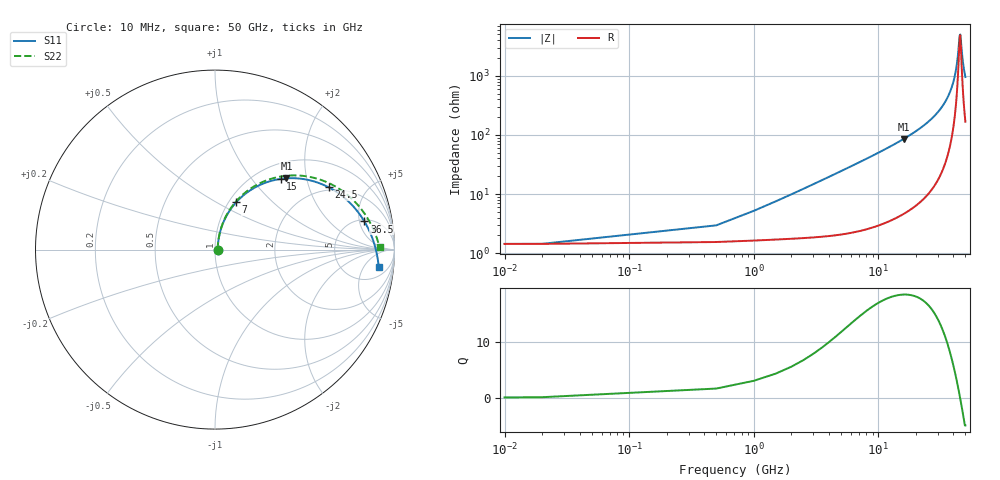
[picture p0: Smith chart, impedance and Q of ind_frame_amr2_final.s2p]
! Created with skrf 2.1.0 (http://scikit-rf.org).
# GHz S DB R 50.0
! Port[1] = P1
! Port[2] = P2
!freq dBS11 angS11 dBS21 angS21 dBS12 angS12 dBS22 angS22
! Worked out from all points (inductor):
!   102 points, 10 MHz to 50 GHz, reference 50 ohm
!   read as 1/Y11, port 2 shorted: L = 777 pH near 1 GHz
!   highest Q = 18.5 at 16 GHz (marker M1), where L = 853 pH
!   self-resonance near 45 GHz
!   S11 on the Smith chart (normalised r, x): 10 MHz: 1.03, +0.00; 7 GHz: 1.08, +0.62; 15 GHz: 1.28, +1.41; 24.5 GHz: 1.87, +2.72; 36.5 GHz: 5.35, +5.94; 50 GHz: 9, -11
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0.01  -36.98 2.0  -0.12 -0.0  -0.12 -0.0  -36.98 2.0
0.5  -31.39 54.4  -0.14 -1.6  -0.14 -1.6  -31.39 54.4
1  -26.66 67.3  -0.15 -3.1  -0.15 -3.1  -26.66 67.4
1.5  -23.50 71.7  -0.17 -4.5  -0.17 -4.5  -23.50 71.9
2  -21.15 73.5  -0.19 -6.0  -0.19 -6.0  -21.15 73.7
3  -17.77 73.8  -0.24 -8.9  -0.24 -8.9  -17.77 74.1
4  -15.36 72.5  -0.31 -11.7  -0.31 -11.7  -15.37 72.9
5.5  -12.74 69.5  -0.43 -15.9  -0.43 -15.9  -12.74 70.1
7  -10.80 65.9  -0.59 -20.0  -0.59 -20.0  -10.81 66.7
8.5  -9.31 62.3  -0.77 -24.0  -0.77 -24.0  -9.31 63.3
11.5  -7.12 55.0  -1.21 -31.4  -1.21 -31.4  -7.12 56.4
15  -5.39 47.1  -1.80 -39.4  -1.80 -39.4  -5.40 48.9
16  -5.00 44.9  -1.98 -41.6  -1.98 -41.6  -5.01 46.9
17  -4.65 42.8  -2.17 -43.6  -2.17 -43.6  -4.66 44.9
20.5  -3.66 35.9  -2.85 -50.5  -2.85 -50.5  -3.67 38.4
24.5  -2.83 28.8  -3.65 -57.5  -3.65 -57.5  -2.84 31.8
25.5  -2.67 27.1  -3.86 -59.2  -3.86 -59.2  -2.68 30.3
29.5  -2.11 20.7  -4.68 -65.4  -4.68 -65.4  -2.12 24.4
33.5  -1.69 14.8  -5.52 -71.1  -5.52 -71.1  -1.70 19.1
36.5  -1.44 10.7  -6.15 -75.0  -6.15 -75.0  -1.45 15.4
42  -1.09 3.5  -7.32 -81.9  -7.32 -81.9  -1.10 9.1
50  -0.75 -6.2  -9.09 -91.0  -9.09 -91.0  -0.75 0.8
